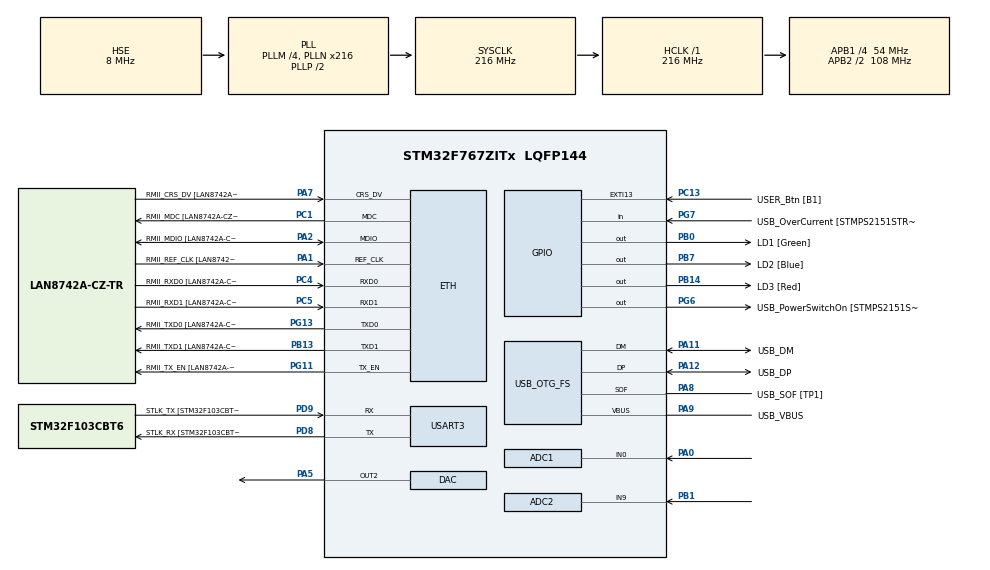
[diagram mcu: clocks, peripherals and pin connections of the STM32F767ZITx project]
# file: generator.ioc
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ADC1.Channel-0\#ChannelRegularConversion=ADC_CHANNEL_0
ADC1.ClockPrescaler=ADC_CLOCK_SYNC_PCLK_DIV8
ADC1.NbrOfConversionFlag=1
ADC1.Rank-0\#ChannelRegularConversion=1
ADC1.SamplingTime-0\#ChannelRegularConversion=ADC_SAMPLETIME_3CYCLES
ADC1.master=1
ADC2.Channel-0\#ChannelRegularConversion=ADC_CHANNEL_9
ADC2.ClockPrescaler=ADC_CLOCK_SYNC_PCLK_DIV8
ADC2.NbrOfConversion=1
ADC2.NbrOfConversionFlag=1
ADC2.Rank-0\#ChannelRegularConversion=1
ADC2.SamplingTime-0\#ChannelRegularConversion=ADC_SAMPLETIME_3CYCLES
DAC.DAC_Trigger2=DAC_TRIGGER_T6_TRGO
ETH.MediaInterface=ETH_MEDIA_INTERFACE_RMII
ETH.PHY_Name=LAN8742A_PHY_ADDRESS
ETH.PHY_Value=0
ETH.PhyAddress=0
Mcu.Family=STM32F7
Mcu.Name=STM32F767ZITx
Mcu.Package=LQFP144
NVIC.PriorityGroup=NVIC_PRIORITYGROUP_4
NVIC.TIM6_DAC_IRQn=true\:0\:0\:false\:false\:true\:true\:true
PA0/WKUP.Signal=ADCx_IN0
PA1.GPIO_Label=RMII_REF_CLK [LAN8742A-CZ-TR_REFCLK0]
PA1.Mode=RMII
PA1.Signal=ETH_REF_CLK
PA10.GPIO_Label=USB_ID
PA10.Signal=USB_OTG_FS_ID
PA11.GPIO_Label=USB_DM
PA11.Mode=Device_Only
PA11.Signal=USB_OTG_FS_DM
PA12.GPIO_Label=USB_DP
PA12.Mode=Device_Only
PA12.Signal=USB_OTG_FS_DP
PA13.GPIO_Label=TMS
PA13.Mode=Serial_Wire
PA13.Signal=SYS_JTMS-SWDIO
PA14.GPIO_Label=TCK
PA14.Mode=Serial_Wire
PA14.Signal=SYS_JTCK-SWCLK
PA2.GPIO_Label=RMII_MDIO [LAN8742A-CZ-TR_MDIO]
PA2.Mode=RMII
PA2.Signal=ETH_MDIO
PA5.Signal=COMP_DAC2_group
PA7.GPIO_Label=RMII_CRS_DV [LAN8742A-CZ-TR_CRS_DV]
PA7.Mode=RMII
PA7.Signal=ETH_CRS_DV
PA8.GPIO_Label=USB_SOF [TP1]
PA8.Mode=Activate_SOF_FS
PA8.Signal=USB_OTG_FS_SOF
PA9.GPIO_Label=USB_VBUS
PA9.Mode=Activate_VBUS
PA9.Signal=USB_OTG_FS_VBUS
PB0.GPIO_Label=LD1 [Green]
PB0.Signal=GPIO_Output
PB1.Signal=ADCx_IN9
PB13.GPIO_Label=RMII_TXD1 [LAN8742A-CZ-TR_TXD1]
PB13.Mode=RMII
PB13.Signal=ETH_TXD1
PB14.GPIO_Label=LD3 [Red]
PB14.Signal=GPIO_Output
PB3.GPIO_Label=SWO
PB3.Signal=SYS_JTDO-SWO
PB7.GPIO_Label=LD2 [Blue]
PB7.Signal=GPIO_Output
PC1.GPIO_Label=RMII_MDC [LAN8742A-CZ-TR_MDC]
PC1.Mode=RMII
PC1.Signal=ETH_MDC
PC13.GPIO_Label=USER_Btn [B1]
PC13.Signal=GPXTI13
PC14/OSC32_IN.Mode=LSE-External-Oscillator
PC14/OSC32_IN.Signal=RCC_OSC32_IN
PC15/OSC32_OUT.Mode=LSE-External-Oscillator
PC15/OSC32_OUT.Signal=RCC_OSC32_OUT
PC4.GPIO_Label=RMII_RXD0 [LAN8742A-CZ-TR_RXD0]
PC4.Mode=RMII
PC4.Signal=ETH_RXD0
PC5.GPIO_Label=RMII_RXD1 [LAN8742A-CZ-TR_RXD1]
PC5.Mode=RMII
PC5.Signal=ETH_RXD1
PD8.GPIO_Label=STLK_RX [STM32F103CBT6_PA3]
PD8.Mode=Asynchronous
PD8.Signal=USART3_TX
PD9.GPIO_Label=STLK_TX [STM32F103CBT6_PA2]
PD9.Mode=Asynchronous
PD9.Signal=USART3_RX
PG11.GPIO_Label=RMII_TX_EN [LAN8742A-CZ-TR_TXEN]
PG11.Mode=RMII
PG11.Signal=ETH_TX_EN
PG13.GPIO_Label=RMII_TXD0 [LAN8742A-CZ-TR_TXD0]
PG13.Mode=RMII
PG13.Signal=ETH_TXD0
PG6.GPIO_Label=USB_PowerSwitchOn [STMPS2151STR_EN]
PG6.Signal=GPIO_Output
PG7.GPIO_Label=USB_OverCurrent [STMPS2151STR_FAULT]
PG7.Signal=GPIO_Input
PH0/OSC_IN.GPIO_Label=MCO [STM32F103CBT6_PA8]
PH0/OSC_IN.Mode=HSE-External-Clock-Source
PH0/OSC_IN.Signal=RCC_OSC_IN
PH1/OSC_OUT.Mode=HSE-External-Clock-Source
PH1/OSC_OUT.Signal=RCC_OSC_OUT
ProjectManager.HeapSize=0x200
ProjectManager.StackSize=0x400
ProjectManager.TargetToolchain=STM32CubeIDE
RCC.48MHZClocksFreq_Value=24000000
RCC.AHBFreq_Value=216000000
RCC.APB1CLKDivider=RCC_HCLK_DIV4
RCC.APB1Freq_Value=54000000
RCC.APB1TimFreq_Value=108000000
RCC.APB2CLKDivider=RCC_HCLK_DIV2
RCC.APB2Freq_Value=108000000
RCC.APB2TimFreq_Value=216000000
RCC.CortexFreq_Value=216000000
RCC.HCLKFreq_Value=216000000
RCC.HSE_VALUE=8000000
RCC.HSI_VALUE=16000000
RCC.PLLM=4
RCC.PLLMUL=RCC_PLL_MUL9
RCC.PLLN=216
RCC.PLLQ=9
RCC.PRESCALERUSB=RCC_USBCLKSOURCE_PLL_DIV1_5
RCC.SYSCLKFreq_VALUE=216000000
RCC.SYSCLKSource=RCC_SYSCLKSOURCE_PLLCLK
RCC.SYSCLKSourceVirtual=RCC_SYSCLKSOURCE_PLLCLK
RCC.USBFreq_Value=48000000
RCC.VCOOutputFreq_Value=432000000
SH.ADCx_IN0.0=ADC1_IN0,IN0
SH.ADCx_IN9.0=ADC2_IN9,IN9
SH.COMP_DAC2_group.0=DAC_OUT2,DAC_OUT2
TIM6.AutoReloadPreload=TIM_AUTORELOAD_PRELOAD_ENABLE
TIM6.Period=1079
TIM6.Prescaler=0
TIM6.TIM_MasterOutputTrigger=TIM_TRGO_UPDATE
USART3.VirtualMode-Asynchronous=VM_ASYNC
USB_OTG_FS.VirtualMode=Device_Only
VP_TIM6_VS_ClockSourceINT.Mode=Enable_Timer
board=NUCLEO-F767ZI

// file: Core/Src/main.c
/* USER CODE BEGIN Header */
/**
  ******************************************************************************
  * @file           : main.c
  * @brief          : Main program body
  ******************************************************************************
  * @attention
  *
  * <h2><center>&copy; Copyright (c) 2021 STMicroelectronics.
  * All rights reserved.</center></h2>
  *
  * This software component is licensed by ST under BSD 3-Clause license,
  * the "License"; You may not use this file except in compliance with the
  * License. You may obtain a copy of the License at:
  *                        opensource.org/licenses/BSD-3-Clause
  *
  ******************************************************************************
  */
/* USER CODE END Header */
#include "main.h"

/* USER CODE BEGIN Includes */

#include "math.h"

/* USER CODE END Includes */

ADC_HandleTypeDef hadc1;
ADC_HandleTypeDef hadc2;

DAC_HandleTypeDef hdac;

ETH_HandleTypeDef heth;

TIM_HandleTypeDef htim6;

UART_HandleTypeDef huart3;

PCD_HandleTypeDef hpcd_USB_OTG_FS;

void SystemClock_Config(void);
static void MX_GPIO_Init(void);
static void MX_ETH_Init(void);
static void MX_USART3_UART_Init(void);
static void MX_USB_OTG_FS_PCD_Init(void);
static void MX_ADC1_Init(void);
static void MX_ADC2_Init(void);
static void MX_DAC_Init(void);
static void MX_TIM6_Init(void);

/* USER CODE BEGIN 0 */

uint32_t dac_time=0;
float offset=0;
const uint32_t time_overf=100000;
const float pi=3.14159265;

void set_signal(float freq, float mul) {
	float t=(float)dac_time/time_overf;
	float s=sin(t*2*pi+offset);
	uint16_t dac_val=(1.0+s*mul)*2047;
}

void HAL_TIM_PeriodElapsedCallback(TIM_HandleTypeDef *htim) {
	dac_time++;
	if (dac_time>=time_overf) dac_time=0;
	set_signal(250, 0.3);
}

/* USER CODE END 0 */

int main(void)
{

  /* MCU Configuration--------------------------------------------------------*/

  /* Reset of all peripherals, Initializes the Flash interface and the Systick. */
  HAL_Init();

  /* Configure the system clock */
  SystemClock_Config();

  /* Initialize all configured peripherals */
  MX_GPIO_Init();
  MX_ETH_Init();
  MX_USART3_UART_Init();
  MX_USB_OTG_FS_PCD_Init();
  MX_ADC1_Init();
  MX_ADC2_Init();
  MX_DAC_Init();
  MX_TIM6_Init();
  /* USER CODE BEGIN 2 */

  HAL_TIM_Base_Start_IT(&htim6);
  HAL_DAC_Start(&hdac,DAC_CHANNEL_1);
  HAL_DAC_SetValue(&hdac,DAC_CHANNEL_1,DAC_ALIGN_12B_R,2047);

  /* USER CODE END 2 */

  /* Infinite loop */
  while (1)
  {

  }
}

void SystemClock_Config(void)
{
  RCC_OscInitTypeDef RCC_OscInitStruct = {0};
  RCC_ClkInitTypeDef RCC_ClkInitStruct = {0};
  RCC_PeriphCLKInitTypeDef PeriphClkInitStruct = {0};

  /** Configure LSE Drive Capability
  */
  HAL_PWR_EnableBkUpAccess();
  /** Configure the main internal regulator output voltage
  */
  __HAL_RCC_PWR_CLK_ENABLE();
  __HAL_PWR_VOLTAGESCALING_CONFIG(PWR_REGULATOR_VOLTAGE_SCALE1);
  /** Initializes the RCC Oscillators according to the specified parameters
  * in the RCC_OscInitTypeDef structure.
  */
  RCC_OscInitStruct.OscillatorType = RCC_OSCILLATORTYPE_HSE;
  RCC_OscInitStruct.HSEState = RCC_HSE_BYPASS;
  RCC_OscInitStruct.PLL.PLLState = RCC_PLL_ON;
  RCC_OscInitStruct.PLL.PLLSource = RCC_PLLSOURCE_HSE;
  RCC_OscInitStruct.PLL.PLLM = 4;
  RCC_OscInitStruct.PLL.PLLN = 216;
  RCC_OscInitStruct.PLL.PLLP = RCC_PLLP_DIV2;
  RCC_OscInitStruct.PLL.PLLQ = 9;
  RCC_OscInitStruct.PLL.PLLR = 2;
  if (HAL_RCC_OscConfig(&RCC_OscInitStruct) != HAL_OK)
  {
    Error_Handler();
  }
  /** Activate the Over-Drive mode
  */
  if (HAL_PWREx_EnableOverDrive() != HAL_OK)
  {
    Error_Handler();
  }
  /** Initializes the CPU, AHB and APB buses clocks
  */
  RCC_ClkInitStruct.ClockType = RCC_CLOCKTYPE_HCLK|RCC_CLOCKTYPE_SYSCLK
                              |RCC_CLOCKTYPE_PCLK1|RCC_CLOCKTYPE_PCLK2;
  RCC_ClkInitStruct.SYSCLKSource = RCC_SYSCLKSOURCE_PLLCLK;
  RCC_ClkInitStruct.AHBCLKDivider = RCC_SYSCLK_DIV1;
  RCC_ClkInitStruct.APB1CLKDivider = RCC_HCLK_DIV4;
  RCC_ClkInitStruct.APB2CLKDivider = RCC_HCLK_DIV2;

  if (HAL_RCC_ClockConfig(&RCC_ClkInitStruct, FLASH_LATENCY_7) != HAL_OK)
  {
    Error_Handler();
  }
  PeriphClkInitStruct.PeriphClockSelection = RCC_PERIPHCLK_USART3|RCC_PERIPHCLK_CLK48;
  PeriphClkInitStruct.Usart3ClockSelection = RCC_USART3CLKSOURCE_PCLK1;
  PeriphClkInitStruct.Clk48ClockSelection = RCC_CLK48SOURCE_PLL;
  if (HAL_RCCEx_PeriphCLKConfig(&PeriphClkInitStruct) != HAL_OK)
  {
    Error_Handler();
  }
}

static void MX_ADC1_Init(void)
{

  ADC_ChannelConfTypeDef sConfig = {0};

  /** Configure the global features of the ADC (Clock, Resolution, Data Alignment and number of conversion)
  */
  hadc1.Instance = ADC1;
  hadc1.Init.ClockPrescaler = ADC_CLOCK_SYNC_PCLK_DIV8;
  hadc1.Init.Resolution = ADC_RESOLUTION_12B;
  hadc1.Init.ScanConvMode = ADC_SCAN_DISABLE;
  hadc1.Init.ContinuousConvMode = DISABLE;
  hadc1.Init.DiscontinuousConvMode = DISABLE;
  hadc1.Init.ExternalTrigConvEdge = ADC_EXTERNALTRIGCONVEDGE_NONE;
  hadc1.Init.ExternalTrigConv = ADC_SOFTWARE_START;
  hadc1.Init.DataAlign = ADC_DATAALIGN_RIGHT;
  hadc1.Init.NbrOfConversion = 1;
  hadc1.Init.DMAContinuousRequests = DISABLE;
  hadc1.Init.EOCSelection = ADC_EOC_SINGLE_CONV;
  if (HAL_ADC_Init(&hadc1) != HAL_OK)
  {
    Error_Handler();
  }
  /** Configure for the selected ADC regular channel its corresponding rank in the sequencer and its sample time.
  */
  sConfig.Channel = ADC_CHANNEL_0;
  sConfig.Rank = ADC_REGULAR_RANK_1;
  sConfig.SamplingTime = ADC_SAMPLETIME_3CYCLES;
  if (HAL_ADC_ConfigChannel(&hadc1, &sConfig) != HAL_OK)
  {
    Error_Handler();
  }

}

static void MX_ADC2_Init(void)
{

  ADC_ChannelConfTypeDef sConfig = {0};

  /** Configure the global features of the ADC (Clock, Resolution, Data Alignment and number of conversion)
  */
  hadc2.Instance = ADC2;
  hadc2.Init.ClockPrescaler = ADC_CLOCK_SYNC_PCLK_DIV8;
  hadc2.Init.Resolution = ADC_RESOLUTION_12B;
  hadc2.Init.ScanConvMode = ADC_SCAN_DISABLE;
  hadc2.Init.ContinuousConvMode = DISABLE;
  hadc2.Init.DiscontinuousConvMode = DISABLE;
  hadc2.Init.ExternalTrigConvEdge = ADC_EXTERNALTRIGCONVEDGE_NONE;
  hadc2.Init.ExternalTrigConv = ADC_SOFTWARE_START;
  hadc2.Init.DataAlign = ADC_DATAALIGN_RIGHT;
  hadc2.Init.NbrOfConversion = 1;
  hadc2.Init.DMAContinuousRequests = DISABLE;
  hadc2.Init.EOCSelection = ADC_EOC_SINGLE_CONV;
  if (HAL_ADC_Init(&hadc2) != HAL_OK)
  {
    Error_Handler();
  }
  /** Configure for the selected ADC regular channel its corresponding rank in the sequencer and its sample time.
  */
  sConfig.Channel = ADC_CHANNEL_9;
  sConfig.Rank = ADC_REGULAR_RANK_1;
  sConfig.SamplingTime = ADC_SAMPLETIME_3CYCLES;
  if (HAL_ADC_ConfigChannel(&hadc2, &sConfig) != HAL_OK)
  {
    Error_Handler();
  }

}

static void MX_DAC_Init(void)
{

  DAC_ChannelConfTypeDef sConfig = {0};

  /** DAC Initialization
  */
  hdac.Instance = DAC;
  if (HAL_DAC_Init(&hdac) != HAL_OK)
  {
    Error_Handler();
  }
  /** DAC channel OUT2 config
  */
  sConfig.DAC_Trigger = DAC_TRIGGER_T6_TRGO;
  sConfig.DAC_OutputBuffer = DAC_OUTPUTBUFFER_ENABLE;
  if (HAL_DAC_ConfigChannel(&hdac, &sConfig, DAC_CHANNEL_2) != HAL_OK)
  {
    Error_Handler();
  }

}

static void MX_ETH_Init(void)
{

   static uint8_t MACAddr[6];

  heth.Instance = ETH;
  heth.Init.AutoNegotiation = ETH_AUTONEGOTIATION_ENABLE;
  heth.Init.Speed = ETH_SPEED_100M;
  heth.Init.DuplexMode = ETH_MODE_FULLDUPLEX;
  heth.Init.PhyAddress = LAN8742A_PHY_ADDRESS;
  MACAddr[0] = 0x00;
  MACAddr[1] = 0x80;
  MACAddr[2] = 0xE1;
  MACAddr[3] = 0x00;
  MACAddr[4] = 0x00;
  MACAddr[5] = 0x00;
  heth.Init.MACAddr = &MACAddr[0];
  heth.Init.RxMode = ETH_RXPOLLING_MODE;
  heth.Init.ChecksumMode = ETH_CHECKSUM_BY_HARDWARE;
  heth.Init.MediaInterface = ETH_MEDIA_INTERFACE_RMII;

  if (HAL_ETH_Init(&heth) != HAL_OK)
  {
    Error_Handler();
  }

}

static void MX_TIM6_Init(void)
{

  TIM_MasterConfigTypeDef sMasterConfig = {0};

  htim6.Instance = TIM6;
  htim6.Init.Prescaler = 0;
  htim6.Init.CounterMode = TIM_COUNTERMODE_UP;
  htim6.Init.Period = 1079;
  htim6.Init.AutoReloadPreload = TIM_AUTORELOAD_PRELOAD_ENABLE;
  if (HAL_TIM_Base_Init(&htim6) != HAL_OK)
  {
    Error_Handler();
  }
  sMasterConfig.MasterOutputTrigger = TIM_TRGO_UPDATE;
  sMasterConfig.MasterSlaveMode = TIM_MASTERSLAVEMODE_DISABLE;
  if (HAL_TIMEx_MasterConfigSynchronization(&htim6, &sMasterConfig) != HAL_OK)
  {
    Error_Handler();
  }

}

static void MX_USART3_UART_Init(void)
{

  huart3.Instance = USART3;
  huart3.Init.BaudRate = 115200;
  huart3.Init.WordLength = UART_WORDLENGTH_8B;
  huart3.Init.StopBits = UART_STOPBITS_1;
  huart3.Init.Parity = UART_PARITY_NONE;
  huart3.Init.Mode = UART_MODE_TX_RX;
  huart3.Init.HwFlowCtl = UART_HWCONTROL_NONE;
  huart3.Init.OverSampling = UART_OVERSAMPLING_16;
  huart3.Init.OneBitSampling = UART_ONE_BIT_SAMPLE_DISABLE;
  huart3.AdvancedInit.AdvFeatureInit = UART_ADVFEATURE_NO_INIT;
  if (HAL_UART_Init(&huart3) != HAL_OK)
  {
    Error_Handler();
  }

}

static void MX_USB_OTG_FS_PCD_Init(void)
{

  hpcd_USB_OTG_FS.Instance = USB_OTG_FS;
  hpcd_USB_OTG_FS.Init.dev_endpoints = 6;
  hpcd_USB_OTG_FS.Init.speed = PCD_SPEED_FULL;
  hpcd_USB_OTG_FS.Init.dma_enable = DISABLE;
  hpcd_USB_OTG_FS.Init.phy_itface = PCD_PHY_EMBEDDED;
  hpcd_USB_OTG_FS.Init.Sof_enable = ENABLE;
  hpcd_USB_OTG_FS.Init.low_power_enable = DISABLE;
  hpcd_USB_OTG_FS.Init.lpm_enable = DISABLE;
  hpcd_USB_OTG_FS.Init.vbus_sensing_enable = ENABLE;
  hpcd_USB_OTG_FS.Init.use_dedicated_ep1 = DISABLE;
  if (HAL_PCD_Init(&hpcd_USB_OTG_FS) != HAL_OK)
  {
    Error_Handler();
  }

}

static void MX_GPIO_Init(void)
{
  GPIO_InitTypeDef GPIO_InitStruct = {0};

  /* GPIO Ports Clock Enable */
  __HAL_RCC_GPIOC_CLK_ENABLE();
  __HAL_RCC_GPIOH_CLK_ENABLE();
  __HAL_RCC_GPIOA_CLK_ENABLE();
  __HAL_RCC_GPIOB_CLK_ENABLE();
  __HAL_RCC_GPIOD_CLK_ENABLE();
  __HAL_RCC_GPIOG_CLK_ENABLE();

  /*Configure GPIO pin Output Level */
  HAL_GPIO_WritePin(GPIOB, LD1_Pin|LD3_Pin|LD2_Pin, GPIO_PIN_RESET);

  /*Configure GPIO pin Output Level */
  HAL_GPIO_WritePin(USB_PowerSwitchOn_GPIO_Port, USB_PowerSwitchOn_Pin, GPIO_PIN_RESET);

  /*Configure GPIO pin : USER_Btn_Pin */
  GPIO_InitStruct.Pin = USER_Btn_Pin;
  GPIO_InitStruct.Mode = GPIO_MODE_IT_RISING;
  GPIO_InitStruct.Pull = GPIO_NOPULL;
  HAL_GPIO_Init(USER_Btn_GPIO_Port, &GPIO_InitStruct);

  /*Configure GPIO pins : LD1_Pin LD3_Pin LD2_Pin */
  GPIO_InitStruct.Pin = LD1_Pin|LD3_Pin|LD2_Pin;
  GPIO_InitStruct.Mode = GPIO_MODE_OUTPUT_PP;
  GPIO_InitStruct.Pull = GPIO_NOPULL;
  GPIO_InitStruct.Speed = GPIO_SPEED_FREQ_LOW;
  HAL_GPIO_Init(GPIOB, &GPIO_InitStruct);

  /*Configure GPIO pin : USB_PowerSwitchOn_Pin */
  GPIO_InitStruct.Pin = USB_PowerSwitchOn_Pin;
  GPIO_InitStruct.Mode = GPIO_MODE_OUTPUT_PP;
  GPIO_InitStruct.Pull = GPIO_NOPULL;
  GPIO_InitStruct.Speed = GPIO_SPEED_FREQ_LOW;
  HAL_GPIO_Init(USB_PowerSwitchOn_GPIO_Port, &GPIO_InitStruct);

  /*Configure GPIO pin : USB_OverCurrent_Pin */
  GPIO_InitStruct.Pin = USB_OverCurrent_Pin;
  GPIO_InitStruct.Mode = GPIO_MODE_INPUT;
  GPIO_InitStruct.Pull = GPIO_NOPULL;
  HAL_GPIO_Init(USB_OverCurrent_GPIO_Port, &GPIO_InitStruct);

}

void Error_Handler(void)
{
  __disable_irq();
  while (1)
  {
  }
}

/************************ (C) COPYRIGHT STMicroelectronics *****END OF FILE****/
